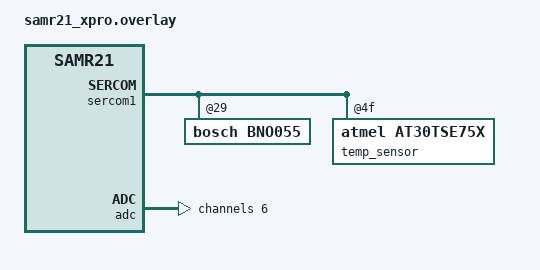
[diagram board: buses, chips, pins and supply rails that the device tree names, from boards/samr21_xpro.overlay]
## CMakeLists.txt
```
#-------------------------------------------------------------------------------
# Zephyr Example Application
#
# Copyright (c) 2021 Nordic Semiconductor ASA
# SPDX-License-Identifier: Apache-2.0

cmake_minimum_required(VERSION 3.13.1)
find_package(Zephyr REQUIRED HINTS $ENV{ZEPHYR_BASE})

project(app LANGUAGES C)

zephyr_include_directories(../include)

target_sources(app PRIVATE 
    src/main.c
    ../lib/radio/sensor_frame.c
)

# The code below locates the git index file for this repository and adds it as a dependency for
# the application VERSION file so that if the repo has a new commit added, even if no files in
# the build have changed, the application version file will be regenerated with the new git commit
find_package(Git QUIET)
if(GIT_FOUND)
  execute_process(
    COMMAND ${GIT_EXECUTABLE} rev-parse --absolute-git-dir
    WORKING_DIRECTORY .
    OUTPUT_VARIABLE application_git_dir
    OUTPUT_STRIP_TRAILING_WHITESPACE
    ERROR_STRIP_TRAILING_WHITESPACE
    ERROR_VARIABLE stderr
    RESULT_VARIABLE return_code
  )
  # If there is an error e.g. it is not a git repo, we just silently ignore it and continue
  # without a dependency, this will be the case with freestanding applications.
  if(NOT return_code)
    if(NOT "${stderr}" STREQUAL "")
      message(WARNING "Application build version git rev-parse warned: ${stderr}")
    endif()

    set_property(TARGET app_version_h PROPERTY APP_VERSION_DEPENDS ${application_git_dir}/index)
  endif()
endif()
```

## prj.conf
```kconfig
# Microkernel e alocacao de memoria (Otimizado para 32KB RAM)
CONFIG_MAIN_STACK_SIZE=1280
CONFIG_SYSTEM_WORKQUEUE_STACK_SIZE=1280
CONFIG_HEAP_MEM_POOL_SIZE=1024

# Serial / Console / Printf
CONFIG_SERIAL=y
CONFIG_CONSOLE=y
CONFIG_UART_CONSOLE=y
CONFIG_STDOUT_CONSOLE=y
CONFIG_PRINTK=y
CONFIG_CBPRINTF_FP_A_SUPPORT=y

# Suporte Newlib
CONFIG_NEWLIB_LIBC=y
CONFIG_NEWLIB_LIBC_FLOAT_PRINTF=y

# Gerador aleatorio (Leve para a pilha IP)
CONFIG_TEST_RANDOM_GENERATOR=y
CONFIG_ENTROPY_GENERATOR=y

# Pilha de Rede TCP/IP e Sockets Otimizada
CONFIG_NETWORKING=y
CONFIG_NET_L2_ETHERNET=y
CONFIG_NET_IPV4=y
CONFIG_NET_DHCPV4=y
CONFIG_NET_SOCKETS=y
CONFIG_NET_LOG=n

# Reducao drástica de buffers de rede para economizar RAM em Cortex-M0+
CONFIG_NET_PKT_RX_COUNT=2
CONFIG_NET_PKT_TX_COUNT=2
CONFIG_NET_BUF_RX_COUNT=6
CONFIG_NET_BUF_TX_COUNT=6
CONFIG_NET_BUF_DATA_SIZE=256

# Drivers de Rede e SPI (KSZ8851)
CONFIG_NET_DRIVERS=y
CONFIG_ETH_DRIVER=y
CONFIG_SPI=y
CONFIG_ETH_KSZ8851SNL=y
```

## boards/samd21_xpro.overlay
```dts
/*
 * SPDX-License-Identifier: Apache-2.0
 */

/ {
example_sensor: example-sensor {
compatible = "zephyr,example-sensor";
input-gpios = <&porta 11 (GPIO_PULL_UP | GPIO_ACTIVE_LOW)>;
};

blink_led: blink-led {
compatible = "blink-gpio-led";
led-gpios = <&portb 30 GPIO_ACTIVE_LOW>;
blink-period-ms = <1000>;
};
};

&sercom5 {
status = "okay";
compatible = "atmel,sam0-spi";
#address-cells = <1>;
#size-cells = <0>;

eth_ksz8851: ksz8851@0 {
compatible = "microchip,ksz8851snl", "micrel,ksz8851snl";
reg = <0>;
spi-max-frequency = <12000000>;
int-gpios = <&porta 28 GPIO_ACTIVE_LOW>;
zephyr,random-mac-address;
status = "okay";
};
};
```

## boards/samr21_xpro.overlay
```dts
/ {
    aliases {
        ambient-temp = &temp_sensor;
        light-adc = &adc;
    };
};

&sercom1 {
    status = "okay";

    bno055@29 {
        compatible = "bosch,bno055";
        reg = <0x29>;
    };

    temp_sensor: at30tse75x@4f {
        compatible = "atmel,at30tse75x";
        reg = <0x4f>;
        status = "okay";
    };
};

&adc {
    status = "okay";
    #address-cells = <1>;
    #size-cells = <0>;

    channel@6 {
        reg = <6>;
        zephyr,gain = "ADC_GAIN_1_2";
        zephyr,reference = "ADC_REF_VDD_1_2";
        zephyr,acquisition-time = <ADC_ACQ_TIME_DEFAULT>;
        zephyr,resolution = <12>;
    };
};
```

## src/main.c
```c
/*
 * SPDX-License-Identifier: Apache-2.0
 */

#include <zephyr/kernel.h>
#include <zephyr/sys/printk.h>
#include <zephyr/device.h>
#include <zephyr/drivers/gpio.h>
#include <zephyr/net/socket.h>
#include <datalogger/datalogger.h>

#define SERVER_PORT 5000
#define SERVER_ADDR "192.168.1.100" /* Ajuste para o IP do seu servidor local */

#define SW0_NODE  DT_PATH(example_sensor)
#define LED0_NODE DT_PATH(blink_led)

#if DT_NODE_EXISTS(SW0_NODE)
static const struct gpio_dt_spec button = GPIO_DT_SPEC_GET_OR(SW0_NODE, input_gpios, {0});
#endif

#if DT_NODE_EXISTS(LED0_NODE)
static const struct gpio_dt_spec led = GPIO_DT_SPEC_GET_OR(LED0_NODE, led_gpios, {0});
#endif

static datalogger_ring_buf_t logger_buffer;

int main(void)
{
    int sock;
    struct sockaddr_in server_addr;

    printk("=== SAMD21 DataLogger UDP Socket ===\n");

    datalogger_buf_init(&logger_buffer);

    #if DT_NODE_EXISTS(SW0_NODE)
    if (button.port && device_is_ready(button.port)) {
        gpio_pin_configure_dt(&button, GPIO_INPUT);
        printk("[GPIO] Sensor PA11 pronto.\n");
    }
    #endif

    #if DT_NODE_EXISTS(LED0_NODE)
    if (led.port && device_is_ready(led.port)) {
        gpio_pin_configure_dt(&led, GPIO_OUTPUT_INACTIVE);
        printk("[GPIO] LED PB30 pronto.\n");
    }
    #endif

    /* Configuração do Socket UDP */
    sock = zsock_socket(AF_INET, SOCK_DGRAM, IPPROTO_UDP);
    if (sock < 0) {
        printk("[UDP] Erro ao criar socket: %d\n", sock);
    } else {
        printk("[UDP] Socket criado com sucesso.\n");
    }

    memset(&server_addr, 0, sizeof(server_addr));
    server_addr.sin_family = AF_INET;
    server_addr.sin_port = htons(SERVER_PORT);
    zsock_inet_pton(AF_INET, SERVER_ADDR, &server_addr.sin_addr);

    datalogger_entry_t new_sample;
    datalogger_entry_t pop_sample;
    char json_buf[128];

    while (1) {
        new_sample.timestamp_ms = k_uptime_get_32();

        #if DT_NODE_EXISTS(SW0_NODE)
        if (button.port && device_is_ready(button.port)) {
            new_sample.digital_state = (bool)gpio_pin_get_dt(&button);
            new_sample.raw_io_val = new_sample.digital_state ? 1023 : 0;
        } else
        #endif
        {
            new_sample.digital_state = !new_sample.digital_state;
            new_sample.raw_io_val = (new_sample.raw_io_val + 50) % 1024;
        }

        /* 1. Armazena a leitura no Ring Buffer */
        datalogger_buf_push(&logger_buffer, &new_sample);

        #if DT_NODE_EXISTS(LED0_NODE)
        if (led.port && device_is_ready(led.port)) {
            gpio_pin_toggle_dt(&led);
        }
        #endif

        /* 2. Processa o buffer e envia via Socket UDP */
        if (datalogger_buf_pop(&logger_buffer, &pop_sample) == 0) {
            if (datalogger_format_json(&pop_sample, json_buf, sizeof(json_buf)) == 0) {
                printk("[DataLogger JSON] %s\n", json_buf);

                if (sock >= 0) {
                    int ret = zsock_sendto(sock, json_buf, strlen(json_buf), 0,
                                           (struct sockaddr *)&server_addr,
                                           sizeof(server_addr));
                    if (ret < 0) {
                        printk("[UDP] Falha no envio sendto: %d\n", ret);
                    } else {
                        printk("[UDP] %d bytes enviados para %s:%d\n", ret, SERVER_ADDR, SERVER_PORT);
                    }
                }
            }
        }

        k_sleep(K_MSEC(2000));
    }

    if (sock >= 0) {
        zsock_close(sock);
    }

    return 0;
}
```
